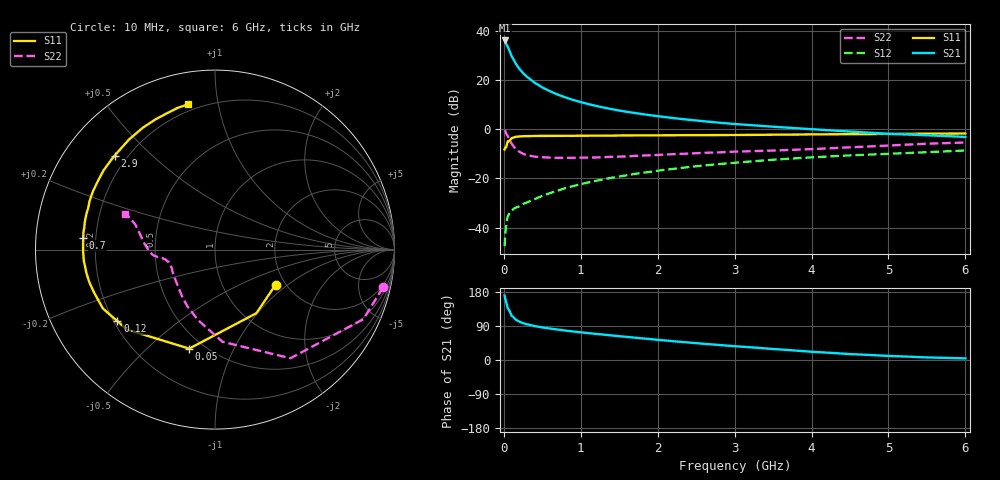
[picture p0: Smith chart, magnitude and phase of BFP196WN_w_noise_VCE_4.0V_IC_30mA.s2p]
! Infineon Technologies  Discrete & RF Semiconductors
! BFP196WN
! VCE =  4.0 V,  IC =  30 mA
! Common Emitter S-Parameters:  Jan 2017
# GHz  S  MA  R  50
!  f  S11  S21  S12  S22
! GHz  MAG  ANG  MAG  ANG  MAG  ANG  MAG  ANG
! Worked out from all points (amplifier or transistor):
!   77 points, 10 MHz to 6 GHz, reference 50 ohm
!   highest |S21| = 36.2 dB at 10 MHz (marker M1)
!   |S21| within 3 dB of that: start of sweep to 56.88 MHz
!   unconditionally stable (mu >= 1): 799.5 MHz to 2.67 GHz
!   at 130 MHz: K = 0.42, MSG = 30.3 dB, |S12| = -32.3 dB
!   at 2.2 GHz: K = 1.02, MAG = 9.4 dB, |S12| = -16.1 dB
!   at 6 GHz: K = 0.90, MSG = 2.8 dB, |S12| = -8.6 dB
!   lowest NFmin = 1.06 dB at 450 MHz
!   S11 on the Smith chart (normalised r, x): 10 MHz: 1.78, -0.82; 50 MHz: 0.42, -0.68; 120 MHz: 0.21, -0.31; 700 MHz: 0.15, +0.04; 2.9 GHz: 0.15, +0.39; 6 GHz: 0.16, +0.82
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0.01  0.3903 -29.9  64.27 170.2  0.0042 80.5  0.9594 -12.7
0.02  0.4226 -56.9  59.85 159.6  0.0079 75.3  0.9132 -25.1
0.05  0.5701 -104.6  48.09 136.6  0.0169 55.6  0.7371 -55.2
0.1  0.6624 -137.7  31.06 116.9  0.0226 45.2  0.5151 -85.4
0.12  0.6743 -143.8  27.49 113.8  0.0237 44.3  0.4654 -91.6
0.15  0.7055 -152.3  22.34 107.2  0.0253 43.0  0.404 -103.5
0.2  0.715 -160.5  17.18 101.3  0.0272 44.8  0.3505 -116.2
0.25  0.7239 -165.7  13.93 97.2  0.0302 46.6  0.3194 -124.9
0.3  0.728 -169.6  11.72 94.2  0.0326 48.4  0.298 -132.2
0.4  0.7335 -175.1  8.877 89.5  0.0379 53.8  0.2789 -141.6
0.5  0.7348 -179.2  7.12 86.0  0.0443 56.8  0.2708 -148.4
0.6  0.7357 177.6  5.952 83.0  0.0505 58.8  0.2661 -153.2
0.7  0.7375 175.0  5.098 80.4  0.0566 61.2  0.2622 -156.4
0.9  0.7389 170.1  3.967 75.3  0.0701 63.1  0.264 -160.9
1.1  0.7423 166.1  3.26 71.0  0.0833 64.2  0.2666 -164.2
1.5  0.7495 159.0  2.412 62.8  0.11 64.3  0.2782 -168.3
2.1  0.7563 149.2  1.774 51.5  0.1504 61.8  0.3067 -171.5
2.9  0.7657 136.9  1.323 38.0  0.2027 56.6  0.3457 -174.9
3.1  0.7682 133.9  1.252 35.1  0.2152 55.0  0.3553 -176.5
4.1  0.7903 119.4  0.985 20.6  0.2742 47.1  0.4025 173.3
5.1  0.8074 108.4  0.8 10.0  0.3226 39.6  0.476 161.7
6  0.8236 100.5  0.701 4.3  0.3714 33.6  0.5394 158.3
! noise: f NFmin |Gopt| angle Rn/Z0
0.45  1.06  0.46  178  0.04
0.9  1.19  0.52  184  0.05
1.9  2.13  0.68  211  0.13
2.4  2.86  0.69  218  0.24
